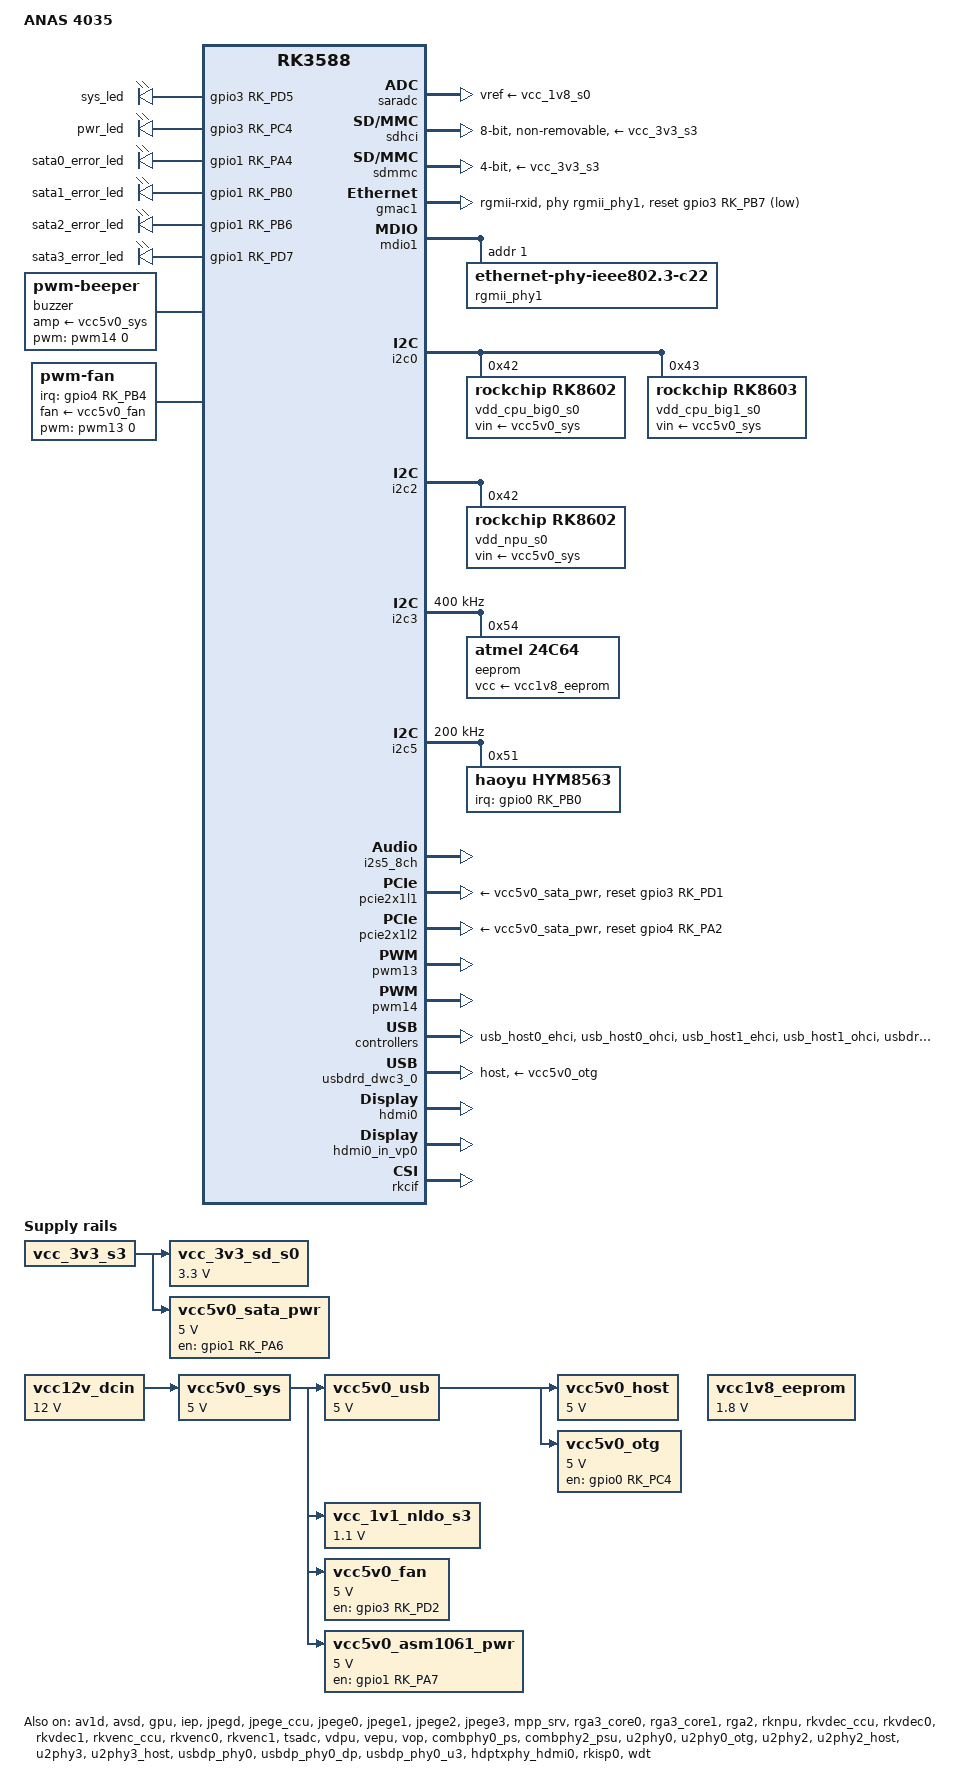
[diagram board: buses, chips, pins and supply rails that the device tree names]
// SPDX-License-Identifier: (GPL-2.0+ OR MIT)
/*
 * Copyright (c) 2021 Rockchip Electronics Co., Ltd.
 *
 */

/dts-v1/;

#include <dt-bindings/gpio/gpio.h>
#include <dt-bindings/pwm/pwm.h>
#include <dt-bindings/pinctrl/rockchip.h>
#include <dt-bindings/input/rk-input.h>
#include <dt-bindings/display/drm_mipi_dsi.h>
#include <dt-bindings/display/rockchip_vop.h>
#include <dt-bindings/sensor-dev.h>
#include "dt-bindings/usb/pd.h"

#include "rk3588s.dtsi"
#include "rk3588-rk806-single.dtsi"
#include "rk3588-linux.dtsi"

/ {
	model = "ANAS 4035";
	compatible = "rockchip,rk3588s-anas-4035", "rockchip,rk3588";
	/delete-node/ chosen;

	hdmi0_sound: hdmi0-sound {
		status = "okay";
		compatible = "rockchip,hdmi";
		rockchip,mclk-fs = <128>;
		rockchip,card-name = "rockchip-hdmi0";
		rockchip,cpu = <&i2s5_8ch>;
		rockchip,codec = <&hdmi0>;
		rockchip,jack-det;
	};

	test-power {
		status = "disabled";
	};

	vcc12v_dcin: vcc12v-dcin {
		compatible = "regulator-fixed";
		regulator-name = "vcc12v_dcin";
		regulator-always-on;
		regulator-boot-on;
		regulator-min-microvolt = <12000000>;
		regulator-max-microvolt = <12000000>;
	};

	vcc5v0_sys: vcc5v0-sys {
		compatible = "regulator-fixed";
		regulator-name = "vcc5v0_sys";
		regulator-always-on;
		regulator-boot-on;
		regulator-min-microvolt = <5000000>;
		regulator-max-microvolt = <5000000>;
		vin-supply = <&vcc12v_dcin>;
	};


	vcc5v0_usb: vcc5v0-usb {
		compatible = "regulator-fixed";
		regulator-name = "vcc5v0_usb";
		regulator-always-on;
		regulator-boot-on;
		regulator-min-microvolt = <5000000>;
		regulator-max-microvolt = <5000000>;
		vin-supply = <&vcc5v0_sys>;
	};

	vcc_1v1_nldo_s3: vcc-1v1-nldo-s3 {
		compatible = "regulator-fixed";
		regulator-name = "vcc_1v1_nldo_s3";
		regulator-always-on;
		regulator-boot-on;
		regulator-min-microvolt = <1100000>;
		regulator-max-microvolt = <1100000>;
		vin-supply = <&vcc5v0_sys>;
	};


	vcc_3v3_sd_s0: vcc-3v3-sd-s0 {
		compatible = "regulator-fixed";
		regulator-name = "vcc_3v3_sd_s0";
		regulator-min-microvolt = <3300000>;
		regulator-max-microvolt = <3300000>;
		vin-supply = <&vcc_3v3_s3>;
	};

	vcc5v0_fan: regulator-vcc5v0-fan {
		compatible = "regulator-fixed";
		enable-active-high;
		gpio = <&gpio3 RK_PD2 GPIO_ACTIVE_HIGH>;
		pinctrl-names = "default";
		pinctrl-0 = <&fan_pwr_en>;
		regulator-name = "vcc5v0_fan";
		regulator-min-microvolt = <5000000>;
		regulator-max-microvolt = <5000000>;
		vin-supply = <&vcc5v0_sys>;
	};

	vcc5v0_sata_pwr: regulator-vcc5v0-sata {
		compatible = "regulator-fixed";
		enable-active-high;
		gpio = <&gpio1 RK_PA6 GPIO_ACTIVE_HIGH>;
		pinctrl-names = "default";
		pinctrl-0 = <&sata_pwr_en>;
		regulator-name = "vcc5v0_sata_pwr";
              //  regulator-always-on;
              //  regulator-boot-on;
		regulator-min-microvolt = <5000000>;
		regulator-max-microvolt = <5000000>;
		startup-delay-us = <2000000>;
		vin-supply = <&vcc_3v3_s3>;
	};

	vcc5v0_asm1061_pwr: regulator-vcc5v0-asm1061 {
		compatible = "regulator-fixed";
		enable-active-high;
		gpio = <&gpio1 RK_PA7 GPIO_ACTIVE_HIGH>;
		pinctrl-names = "default";
		pinctrl-0 = <&asm1061_pwr_en>;
		regulator-name = "vcc5v0_asm1061_pwr";
                regulator-always-on;
                regulator-boot-on;
		regulator-min-microvolt = <5000000>;
		regulator-max-microvolt = <5000000>;
		vin-supply = <&vcc5v0_sys>;
	};
	
	vcc5v0_host: vcc5v0-host {
		compatible = "regulator-fixed";
		regulator-name = "vcc5v0_host";
		regulator-boot-on;
		regulator-always-on;
		regulator-min-microvolt = <5000000>;
		regulator-max-microvolt = <5000000>;
		vin-supply = <&vcc5v0_usb>;
	};

	vcc5v0_otg: vcc5v0-otg {
		compatible = "regulator-fixed";
		regulator-name = "vcc5v0_otg";
		regulator-min-microvolt = <5000000>;
		regulator-max-microvolt = <5000000>;
		startup-delay-us = <1200000>;
		enable-active-high;
		regulator-always-on;
		regulator-boot-on;
		gpio = <&gpio0 RK_PC4 GPIO_ACTIVE_HIGH>;
		pinctrl-names = "default";
		pinctrl-0 = <&vcc5v0_otg_en>;
		vin-supply = <&vcc5v0_usb>;
	};

	vcc1v8_eeprom: vcc1v8-eeprom {
		compatible = "regulator-fixed";
		regulator-name = "vcc1v8_eeprom";
		regulator-min-microvolt = <1800000>;
		regulator-max-microvolt = <1800000>;
		regulator-always-on;
	};

	leds {
		compatible = "gpio-leds";

		sys_led: sys-led {
			label = "sys_led";
			gpios = <&gpio3 RK_PD5 GPIO_ACTIVE_HIGH>;
			linux,default-trigger = "heartbeat";
			pinctrl-names = "default";
			pinctrl-0 = <&sys_led_pin>;
		};

		pwr_led: pwr-led {
			label = "pwr_led";
			gpios = <&gpio3 RK_PC4 GPIO_ACTIVE_HIGH>;
			default-state = "on";
			pinctrl-names = "default";
			pinctrl-0 = <&pwr_led_pin>;
		};
		
		sata0_error_led: sata0-error-led {
		        label = "sata0_error_led";
		        gpios = <&gpio1 RK_PA4 GPIO_ACTIVE_HIGH>;
		        pinctrl-names = "default";
		        pinctrl-0 = <&sata0_error_led_pin>;
		};
		
		sata1_error_led: sata1-error-led {
		        label = "sata1_error_led";
		        gpios = <&gpio1 RK_PB0 GPIO_ACTIVE_HIGH>;
		        pinctrl-names = "default";
		        pinctrl-0 = <&sata1_error_led_pin>;
		};
		
		sata2_error_led: sata2-error-led {
		        label = "sata2_error_led";
		        gpios = <&gpio1 RK_PB6 GPIO_ACTIVE_HIGH>;
		        pinctrl-names = "default";
		        pinctrl-0 = <&sata2_error_led_pin>;
		};
		
		sata3_error_led: sata3-error-led {
		        label = "sata3_error_led";
		        gpios = <&gpio1 RK_PD7 GPIO_ACTIVE_HIGH>;
		        pinctrl-names = "default";
		        pinctrl-0 = <&sata3_error_led_pin>;
		};

	};


	buzzer: pwm-beeper {
		compatible = "pwm-beeper";
		amp-supply = <&vcc5v0_sys>;
		beeper-hz = <4000>;
		pwms = <&pwm14 0 250000 0>;
	};

	fan: pwm-fan {
		status = "okay";
		compatible = "pwm-fan";
		#cooling-cells = <2>;
		fan-supply = <&vcc5v0_fan>;
		pwms = <&pwm13 0 50000 0>;
		interrupt-parent = <&gpio4>;
		interrupts = <RK_PB4 IRQ_TYPE_EDGE_FALLING>;   /* tach �����½��� */
		pulses-per-revolution = <2>;                   /* �󲿷� 4�߷���=2����/ת */
		pinctrl-names = "default";
		pinctrl-0 = <&fan_tach_pin>;
		cooling-levels = <0 50 100 150 200 255>;
		rockchip,temp-trips = <
			10000   1
			25000   2
			30000   3
			45000   4
			50000   5
			60000	6
		>;
	};

};

&av1d {
	status = "okay";
};

&av1d_mmu {
	status = "okay";
};

&avsd {
	status = "okay";
};

&gpu {
	mali-supply = <&vdd_gpu_s0>;
	mem-supply = <&vdd_gpu_mem_s0>;
	status = "okay";
};

&iep {
	status = "okay";
};

&iep_mmu {
	status = "okay";
};

&jpegd {
	status = "okay";
};

&jpegd_mmu {
	status = "okay";
};

&jpege_ccu {
	status = "okay";
};

&jpege0 {
	status = "okay";
};

&jpege0_mmu {
	status = "okay";
};

&jpege1 {
	status = "okay";
};

&jpege1_mmu {
	status = "okay";
};

&jpege2 {
	status = "okay";
};

&jpege2_mmu {
	status = "okay";
};

&jpege3 {
	status = "okay";
};

&jpege3_mmu {
	status = "okay";
};

&mpp_srv {
	status = "okay";
};

&rga3_core0 {
	status = "okay";
};

&rga3_0_mmu {
	status = "okay";
};

&rga3_core1 {
	status = "okay";
};

&rga3_1_mmu {
	status = "okay";
};

&rga2 {
	status = "okay";
};

&rknpu {
	rknpu-supply = <&vdd_npu_s0>;
	mem-supply = <&vdd_npu_mem_s0>;
	status = "okay";
};

&rknpu_mmu {
	status = "okay";
};

&rkvdec_ccu {
	status = "okay";
};

&rkvdec0 {
	status = "okay";
};

&rkvdec0_mmu {
	status = "okay";
};

&rkvdec1 {
	status = "okay";
};

&rkvdec1_mmu {
	status = "okay";
};

&rkvenc_ccu {
	status = "okay";
};

&rkvenc0 {
	status = "okay";
};

&rkvenc0_mmu {
	status = "okay";
};

&rkvenc1 {
	status = "okay";
};

&rkvenc1_mmu {
	status = "okay";
};

&rockchip_suspend {
	status = "okay";
	rockchip,sleep-debug-en = <1>;
};

&saradc {
	status = "okay";
	vref-supply = <&vcc_1v8_s0>;
};


&sdhci {
	bus-width = <8>;
	no-sdio;
	no-sd;
	non-removable;
	max-frequency = <200000000>;
	mmc-hs400-1_8v;
	mmc-hs400-enhanced-strobe;
	disable-cqe;
	vmmc-supply = <&vcc_3v3_s3>;
	status = "okay";
};

&sdmmc {
	max-frequency = <150000000>;
	no-sdio;
	no-mmc;
	bus-width = <4>;
	cap-mmc-highspeed;
	cap-sd-highspeed;
	disable-wp;
	sd-uhs-sdr104;
	vmmc-supply = <&vcc_3v3_s3>;
	vqmmc-supply = <&vccio_sd_s0>;
	status = "okay";
};

&tsadc {
	status = "okay";
};

&vdpu {
	status = "okay";
};

&vdpu_mmu {
	status = "okay";
};

&vepu {
	status = "okay";
};

&vop {
	status = "okay";
	disable-win-move;
	assigned-clocks = <&cru ACLK_VOP>;
	assigned-clock-rates = <800000000>;
};

&vop_mmu {
	status = "okay";
};

/* vp0 & vp1 splice for 8K output */
&vp0 {
        cursor-win-id=<ROCKCHIP_VOP2_ESMART0>;
        rockchip,plane-mask = <(1 << ROCKCHIP_VOP2_CLUSTER0 | 1 << ROCKCHIP_VOP2_ESMART0)>;
        rockchip,primary-plane = <ROCKCHIP_VOP2_ESMART0>;
        rockchip,primary-plane = <ROCKCHIP_VOP2_CLUSTER0>;
};

&vp1 {
        cursor-win-id=<ROCKCHIP_VOP2_ESMART1>;
        rockchip,plane-mask = <(1 << ROCKCHIP_VOP2_CLUSTER1 | 1 << ROCKCHIP_VOP2_ESMART1)>;
        rockchip,primary-plane = <ROCKCHIP_VOP2_ESMART1>;
        rockchip,primary-plane = <ROCKCHIP_VOP2_CLUSTER1>;
};

&vp2 {
        cursor-win-id=<ROCKCHIP_VOP2_ESMART2>;
        rockchip,plane-mask = <(1 << ROCKCHIP_VOP2_CLUSTER2 | 1 << ROCKCHIP_VOP2_ESMART2)>;
        rockchip,primary-plane = <ROCKCHIP_VOP2_ESMART2>;
        rockchip,primary-plane = <ROCKCHIP_VOP2_CLUSTER2>;
};

&vp3 {
        cursor-win-id=<ROCKCHIP_VOP2_ESMART3>;
        rockchip,plane-mask = <(1 << ROCKCHIP_VOP2_CLUSTER3 | 1 << ROCKCHIP_VOP2_ESMART3)>;
        rockchip,primary-plane = <ROCKCHIP_VOP2_ESMART3>;
        rockchip,primary-plane = <ROCKCHIP_VOP2_CLUSTER3>;
};



&display_subsystem {
	clocks = <&hdptxphy_hdmi0>;
	clock-names = "hdmi0_phy_pll";
};

&cpu_l0 {
	cpu-supply = <&vdd_cpu_lit_s0>;
	mem-supply = <&vdd_cpu_lit_mem_s0>;
};

&cpu_b0 {
	cpu-supply = <&vdd_cpu_big0_s0>;
	mem-supply = <&vdd_cpu_big0_mem_s0>;
};

&cpu_b2 {
	cpu-supply = <&vdd_cpu_big1_s0>;
	mem-supply = <&vdd_cpu_big1_mem_s0>;
};

&gmac1 {
	status = "okay";
	phy-mode = "rgmii-rxid";
	clock_in_out = "output";
	phy-handle = <&rgmii_phy1>;


	snps,reset-gpio = <&gpio3 RK_PB7 GPIO_ACTIVE_LOW>;
	snps,reset-active-low;
	snps,reset-delays-us = <0 20000 100000>;

	pinctrl-0 = <&gmac1_miim
		     &gmac1_tx_bus2
		     &gmac1_rx_bus2
		     &gmac1_rgmii_clk
		     &gmac1_rgmii_bus>;
	pinctrl-names = "default";
	tx_delay = <0x42>;

};



&mdio1 {
	rgmii_phy1: phy@1 {
		compatible = "ethernet-phy-ieee802.3-c22";
		reg = <0x1>;
	};
};


&combphy0_ps {
	status = "okay";
};

&combphy2_psu {
	status = "okay";
};


&i2c0 {
	status = "okay";
	pinctrl-names = "default";
	pinctrl-0 = <&i2c0m2_xfer>;

	vdd_cpu_big0_s0: vdd_cpu_big0_mem_s0: rk8602@42 {
		compatible = "rockchip,rk8602";
		reg = <0x42>;
		vin-supply = <&vcc5v0_sys>;
		regulator-compatible = "rk860x-reg";
		regulator-name = "vdd_cpu_big0_s0";
		regulator-min-microvolt = <550000>;
		regulator-max-microvolt = <1050000>;
		regulator-ramp-delay = <2300>;
		rockchip,suspend-voltage-selector = <1>;
		regulator-boot-on;
		regulator-always-on;
		regulator-state-mem {
			regulator-off-in-suspend;
		};
	};

	vdd_cpu_big1_s0: vdd_cpu_big1_mem_s0: rk8603@43 {
		compatible = "rockchip,rk8603";
		reg = <0x43>;
		vin-supply = <&vcc5v0_sys>;
		regulator-compatible = "rk860x-reg";
		regulator-name = "vdd_cpu_big1_s0";
		regulator-min-microvolt = <550000>;
		regulator-max-microvolt = <1050000>;
		regulator-ramp-delay = <2300>;
		rockchip,suspend-voltage-selector = <1>;
		regulator-boot-on;
		regulator-always-on;
		regulator-state-mem {
			regulator-off-in-suspend;
		};
	};
};

&i2c2 {
	status = "okay";
	pinctrl-names = "default";
	pinctrl-0 = <&i2c2m0_xfer>;

	vdd_npu_s0: vdd_npu_mem_s0: rk8602@42 {
		compatible = "rockchip,rk8602";
		reg = <0x42>;
		vin-supply = <&vcc5v0_sys>;
		regulator-compatible = "rk860x-reg";
		regulator-name = "vdd_npu_s0";
		regulator-min-microvolt = <550000>;
		regulator-max-microvolt = <950000>;
		regulator-ramp-delay = <2300>;
		rockchip,suspend-voltage-selector = <1>;
		regulator-boot-on;
		regulator-always-on;
		regulator-state-mem {
			regulator-off-in-suspend;
		};
	};
};

&i2c3 {
    status = "okay";
    pinctrl-names = "default";
    pinctrl-0 = <&i2c3m0_xfer>;
    clock-frequency = <400000>;

	eeprom@54 {
    	compatible = "atmel,24c64", "at24";
    	reg = <0x54>;
    	pagesize = <32>;
    	size = <8192>;
    	vcc-supply = <&vcc1v8_eeprom>;
	};

};

&i2c5 {
	clock-frequency = <200000>;
	pinctrl-names = "default";
	pinctrl-0 = <&i2c5m2_xfer>;
	status = "okay";

	hym8563: rtc@51 {
		compatible = "haoyu,hym8563";
		reg = <0x51>;
		#clock-cells = <0>;
		clock-output-names = "hym8563";
		pinctrl-names = "default";
		pinctrl-0 = <&rtc_int>;
		interrupt-parent = <&gpio0>;
		interrupts = <RK_PB0 IRQ_TYPE_LEVEL_LOW>;
		wakeup-source;
	};
};




&i2s5_8ch {
	status = "okay";
};


&pcie2x1l1 {
	reset-gpios = <&gpio3 RK_PD1 GPIO_ACTIVE_HIGH>;
	vpcie3v3-supply = <&vcc5v0_sata_pwr>;
	status = "okay";
};

&pcie2x1l2 {
	reset-gpios = <&gpio4 RK_PA2 GPIO_ACTIVE_HIGH>;
	vpcie3v3-supply = <&vcc5v0_sata_pwr>;
	status = "okay";
};

&pinctrl {

	hym8563 {
		rtc_int: rtc-int {
			rockchip,pins = <0 RK_PB0 RK_FUNC_GPIO &pcfg_pull_up>;
		};
	};

	fan {
		fan_pwr_en: fan-pwr-en {
				rockchip,pins = <3 RK_PD2 RK_FUNC_GPIO &pcfg_pull_down>;
		};

		fan_tach_pin: fan-tach-pin {
				rockchip,pins = <4 RK_PB4 RK_FUNC_GPIO &pcfg_pull_up>;
		};
	};

	gpio-leds {
		sys_led_pin: sys-led-pin {
			rockchip,pins =	<3 RK_PD5 RK_FUNC_GPIO &pcfg_pull_none>;
		};

		pwr_led_pin: pwr-led-pin {
			rockchip,pins =	<3 RK_PC4 RK_FUNC_GPIO &pcfg_pull_none>;
		};
		
		sata0_error_led_pin: sata0-error-led-pin {
			rockchip,pins = <1 RK_PA4 RK_FUNC_GPIO &pcfg_pull_down>;
       };

		sata1_error_led_pin: sata1-error-led-pin {
			rockchip,pins = <1 RK_PB0 RK_FUNC_GPIO &pcfg_pull_down>;
		};

		sata2_error_led_pin: sata2-error-led-pin {
			rockchip,pins = <1 RK_PB6 RK_FUNC_GPIO &pcfg_pull_down>;
		};

		sata3_error_led_pin: sata3-error-led-pin {
			rockchip,pins = <1 RK_PD7 RK_FUNC_GPIO &pcfg_pull_down>;
		};
	};

	sata {
		sata_pwr_en: sata-pwr-en {
			rockchip,pins = <1 RK_PA6 RK_FUNC_GPIO &pcfg_pull_down>;
		};
	};
	
	asm1061 {
		asm1061_pwr_en: asm1061-pwr-en {
			rockchip,pins = <1 RK_PA7 RK_FUNC_GPIO &pcfg_pull_down>;
		};
	};


	usb {
		vcc5v0_otg_en: vcc5v0-otg-en {
			rockchip,pins = <0 RK_PC4 RK_FUNC_GPIO &pcfg_pull_none>;
		};
	};

};

&pwm13 {
		pinctrl-names = "active";
		pinctrl-0 = <&pwm13m2_pins>;
		status = "okay";
};


&pwm14 {
		pinctrl-names = "active";
		pinctrl-0 = <&pwm14m1_pins>;
		status = "okay";
};

&u2phy0 {
	status = "okay";
};

&u2phy0_otg {
	//vbus-supply = <&vcc5v0_otg>;
	status = "okay";
};


&u2phy2 {
	status = "okay";
};


&u2phy2_host {
	//phy-supply = <&vcc5v0_host>;
	status = "okay";
};

&u2phy3 {
	status = "okay";
};

&u2phy3_host {
	//phy-supply = <&vcc5v0_host>;
	status = "okay";
};

&usb_host0_ehci {
	status = "okay";
};

&usb_host0_ohci {
	status = "okay";
};

&usb_host1_ehci {
	status = "okay";
};

&usb_host1_ohci {
	status = "okay";
};

&usbdrd3_0 {
	status = "okay";
};

&usbdrd_dwc3_0 {
	status = "okay";
	dr_mode = "host";
	//extcon = <&u2phy0>;
	vbus-supply = <&vcc5v0_otg>;
	snps,parkmode-disable-hs-quirk;
	snps,parkmode-disable-ss-quirk;
};

&usbhost3_0 {
	status = "disabled";
};

&usbhost_dwc3_0 {
	status = "disabled";
};

&usbdp_phy0 {
	status = "okay";
	rockchip,dp-lane-mux = <0 1>;
};

&usbdp_phy0_dp {
	status = "okay";
};

&usbdp_phy0_u3 {
	status = "okay";
};



&hdmi0 {
	status = "okay";
};

&hdmi0_in_vp0 {
	status = "okay";
};

&hdptxphy_hdmi0 {
	status = "okay";
};

&rkcif {
	status = "okay";
};

&rkcif_mmu {
	status = "okay";
};

&rkisp0 {
	status = "okay";
};

&isp0_mmu {
	status = "okay";
};

/* watchdog */
&wdt {
	status = "okay";
};



